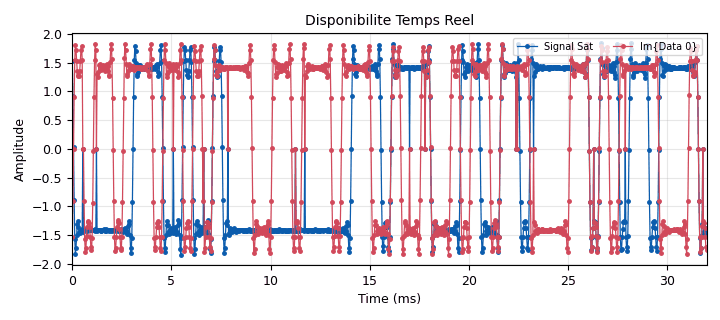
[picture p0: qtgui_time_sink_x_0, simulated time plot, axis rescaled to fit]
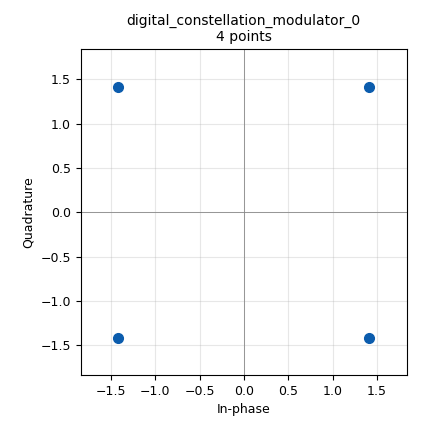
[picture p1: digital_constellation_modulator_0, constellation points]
options:
  parameters:
    generate_options: qt_gui
    id: satellite_advanced
    output_language: python
    run_command: '{python} {filename}'
    title: Satellite Reliability Model
  states: {}

blocks:
- name: availability_pct
  id: variable_qtgui_range
  parameters:
    comment: Seuil de panne (0 a 100)
    gui_hint: 0,0,1,1
    label: Disponibilite (%)
    start: '0'
    step: '1'
    stop: '100'
    value: '99.22'
  states: {}
- name: reliability_noise
  id: variable_qtgui_range
  parameters:
    comment: Bruit interne du satellite
    gui_hint: 1,0,1,1
    label: Degradation Fiabilite (Bruit)
    start: '0'
    step: '0.05'
    stop: '1'
    value: '0.01'
  states: {}
- name: samp_rate
  id: variable
  parameters:
    value: '32000'
  states: {}
- name: add_reliability_error
  id: blocks_add_xx
  parameters:
    type: complex
  states: {}
- name: analog_random_source_x_0
  id: analog_random_source_x
  parameters:
    max: '4'
    min: '0'
    num_samps: '1000'
    repeat: 'True'
    type: byte
  states: {}
- name: apply_availability
  id: blocks_multiply_xx
  parameters:
    type: complex
  states: {}
- name: blocks_throttle_0
  id: blocks_throttle
  parameters:
    samples_per_second: samp_rate
    type: complex
  states: {}
- name: digital_constellation_modulator_0
  id: digital_constellation_modulator
  parameters:
    constellation: digital.constellation_qpsk().base()
    differential: 'True'
    excess_bw: '0.35'
    samples_per_symbol: '4'
  states: {}
- name: float_to_complex
  id: blocks_float_to_complex
  parameters: {}
  states: {}
- name: int_to_float
  id: blocks_int_to_float
  parameters:
    scale: '1'
  states: {}
- name: internal_fault_noise
  id: analog_noise_source_x
  parameters:
    amp: reliability_noise
    noise_type: analog.GR_GAUSSIAN
    seed: '0'
    type: complex
  states: {}
- name: qtgui_time_sink_x_0
  id: qtgui_time_sink_x
  parameters:
    label1: Signal Sat
    marker1: '1'
    marker2: '1'
    name: '"Disponibilite Temps Reel"'
    size: '1024'
    srate: samp_rate
    type: complex
    ymax: '2'
    ymin: '2'
  states: {}
- name: random_availability
  id: analog_random_source_x
  parameters:
    max: '100'
    min: '0'
    num_samps: '1000'
    repeat: 'True'
    type: int
  states: {}
- name: threshold_logic
  id: blocks_threshold_ff
  parameters:
    high: 100.0 - availability_pct
    init: '0'
    low: 100.0 - availability_pct
  states: {}
- name: zeromq_pub_sink_0
  id: zeromq_pub_sink
  parameters:
    address: tcp://*:5555
    hwm: '1'
    timeout: '100'
    type: complex
  states: {}

connections:
- [add_reliability_error, '0', apply_availability, '0']
- [analog_random_source_x_0, '0', digital_constellation_modulator_0, '0']
- [apply_availability, '0', blocks_throttle_0, '0']
- [blocks_throttle_0, '0', qtgui_time_sink_x_0, '0']
- [blocks_throttle_0, '0', zeromq_pub_sink_0, '0']
- [digital_constellation_modulator_0, '0', add_reliability_error, '0']
- [float_to_complex, '0', apply_availability, '1']
- [int_to_float, '0', threshold_logic, '0']
- [internal_fault_noise, '0', add_reliability_error, '1']
- [random_availability, '0', int_to_float, '0']
- [threshold_logic, '0', float_to_complex, '0']

metadata:
  file_format: 1
